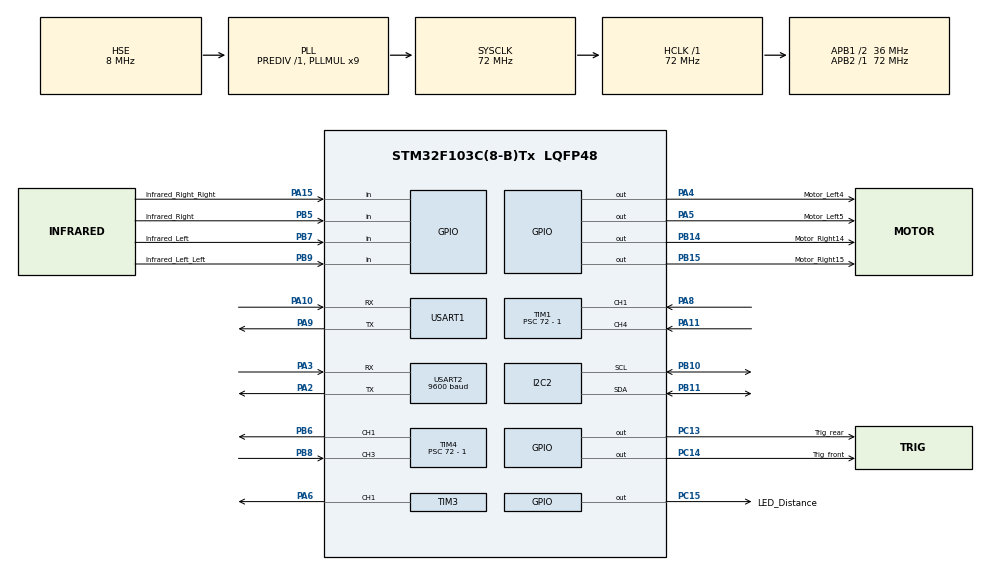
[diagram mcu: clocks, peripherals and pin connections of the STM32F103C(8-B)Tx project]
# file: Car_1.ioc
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Dma.Request0=USART2_RX
Dma.Request1=USART2_TX
Dma.Request2=USART1_RX
Dma.Request3=USART1_TX
Dma.USART1_RX.2.Direction=DMA_PERIPH_TO_MEMORY
Dma.USART1_RX.2.Instance=DMA1_Channel5
Dma.USART1_RX.2.MemDataAlignment=DMA_MDATAALIGN_BYTE
Dma.USART1_RX.2.MemInc=DMA_MINC_ENABLE
Dma.USART1_RX.2.Mode=DMA_NORMAL
Dma.USART1_RX.2.PeriphDataAlignment=DMA_PDATAALIGN_BYTE
Dma.USART1_RX.2.PeriphInc=DMA_PINC_DISABLE
Dma.USART1_RX.2.Priority=DMA_PRIORITY_LOW
Dma.USART1_TX.3.Direction=DMA_MEMORY_TO_PERIPH
Dma.USART1_TX.3.Instance=DMA1_Channel4
Dma.USART1_TX.3.MemDataAlignment=DMA_MDATAALIGN_BYTE
Dma.USART1_TX.3.MemInc=DMA_MINC_ENABLE
Dma.USART1_TX.3.Mode=DMA_NORMAL
Dma.USART1_TX.3.PeriphDataAlignment=DMA_PDATAALIGN_BYTE
Dma.USART1_TX.3.PeriphInc=DMA_PINC_DISABLE
Dma.USART1_TX.3.Priority=DMA_PRIORITY_LOW
Dma.USART2_RX.0.Direction=DMA_PERIPH_TO_MEMORY
Dma.USART2_RX.0.Instance=DMA1_Channel6
Dma.USART2_RX.0.MemDataAlignment=DMA_MDATAALIGN_BYTE
Dma.USART2_RX.0.MemInc=DMA_MINC_ENABLE
Dma.USART2_RX.0.Mode=DMA_NORMAL
Dma.USART2_RX.0.PeriphDataAlignment=DMA_PDATAALIGN_BYTE
Dma.USART2_RX.0.PeriphInc=DMA_PINC_DISABLE
Dma.USART2_RX.0.Priority=DMA_PRIORITY_LOW
Dma.USART2_TX.1.Direction=DMA_MEMORY_TO_PERIPH
Dma.USART2_TX.1.Instance=DMA1_Channel7
Dma.USART2_TX.1.MemDataAlignment=DMA_MDATAALIGN_BYTE
Dma.USART2_TX.1.MemInc=DMA_MINC_ENABLE
Dma.USART2_TX.1.Mode=DMA_NORMAL
Dma.USART2_TX.1.PeriphDataAlignment=DMA_PDATAALIGN_BYTE
Dma.USART2_TX.1.PeriphInc=DMA_PINC_DISABLE
Dma.USART2_TX.1.Priority=DMA_PRIORITY_LOW
Mcu.Family=STM32F1
Mcu.Name=STM32F103C(8-B)Tx
Mcu.Package=LQFP48
NVIC.DMA1_Channel4_IRQn=true\:0\:0\:false\:false\:true\:false\:true\:true
NVIC.DMA1_Channel5_IRQn=true\:0\:0\:false\:false\:true\:false\:true\:true
NVIC.DMA1_Channel6_IRQn=true\:0\:0\:false\:false\:true\:false\:true\:true
NVIC.DMA1_Channel7_IRQn=true\:0\:0\:false\:false\:true\:false\:true\:true
NVIC.I2C2_ER_IRQn=true\:0\:0\:false\:false\:true\:true\:true\:true
NVIC.I2C2_EV_IRQn=true\:0\:0\:false\:false\:true\:true\:true\:true
NVIC.PriorityGroup=NVIC_PRIORITYGROUP_4
NVIC.TIM1_CC_IRQn=true\:0\:0\:false\:false\:true\:true\:true\:true
NVIC.TIM3_IRQn=true\:0\:0\:false\:false\:true\:true\:true\:true
NVIC.TIM4_IRQn=true\:0\:0\:false\:false\:true\:true\:true\:true
NVIC.USART1_IRQn=true\:0\:0\:false\:false\:true\:true\:true\:true
NVIC.USART2_IRQn=true\:0\:0\:false\:false\:true\:true\:true\:true
PA10.Mode=Asynchronous
PA10.Signal=USART1_RX
PA11.Signal=S_TIM1_CH4
PA13.Mode=Serial_Wire
PA13.Signal=SYS_JTMS-SWDIO
PA14.Mode=Serial_Wire
PA14.Signal=SYS_JTCK-SWCLK
PA15.GPIO_Label=Infrared_Right_Right
PA15.Signal=GPIO_Input
PA2.Mode=Asynchronous
PA2.Signal=USART2_TX
PA3.Mode=Asynchronous
PA3.Signal=USART2_RX
PA4.GPIO_Label=Motor_Left4
PA4.Signal=GPIO_Output
PA5.GPIO_Label=Motor_Left5
PA5.Signal=GPIO_Output
PA6.Signal=S_TIM3_CH1
PA8.Signal=S_TIM1_CH1
PA9.Mode=Asynchronous
PA9.Signal=USART1_TX
PB10.Mode=I2C
PB10.Signal=I2C2_SCL
PB11.Mode=I2C
PB11.Signal=I2C2_SDA
PB14.GPIO_Label=Motor_Right14
PB14.Signal=GPIO_Output
PB15.GPIO_Label=Motor_Right15
PB15.Signal=GPIO_Output
PB5.GPIO_Label=Infrared_Right
PB5.Signal=GPIO_Input
PB6.Signal=S_TIM4_CH1
PB7.GPIO_Label=Infrared_Left
PB7.Signal=GPIO_Input
PB8.Signal=S_TIM4_CH3
PB9.GPIO_Label=Infrared_Left_Left
PB9.Signal=GPIO_Input
PC13-TAMPER-RTC.GPIO_Label=Trig_rear
PC13-TAMPER-RTC.Signal=GPIO_Output
PC14-OSC32_IN.GPIO_Label=Trig_front
PC14-OSC32_IN.Signal=GPIO_Output
PC15-OSC32_OUT.GPIO_Label=LED_Distance
PC15-OSC32_OUT.Signal=GPIO_Output
PD0-OSC_IN.Mode=HSE-External-Oscillator
PD0-OSC_IN.Signal=RCC_OSC_IN
PD1-OSC_OUT.Mode=HSE-External-Oscillator
PD1-OSC_OUT.Signal=RCC_OSC_OUT
ProjectManager.HeapSize=0x200
ProjectManager.StackSize=0x400
ProjectManager.TargetToolchain=STM32CubeIDE
RCC.AHBFreq_Value=72000000
RCC.APB1CLKDivider=RCC_HCLK_DIV2
RCC.APB1Freq_Value=36000000
RCC.APB1TimFreq_Value=72000000
RCC.APB2Freq_Value=72000000
RCC.APB2TimFreq_Value=72000000
RCC.HCLKFreq_Value=72000000
RCC.PLLMUL=RCC_PLL_MUL9
RCC.PLLSourceVirtual=RCC_PLLSOURCE_HSE
RCC.SYSCLKFreq_VALUE=72000000
RCC.SYSCLKSource=RCC_SYSCLKSOURCE_PLLCLK
RCC.USBFreq_Value=72000000
SH.S_TIM1_CH1.0=TIM1_CH1,Input_Capture1_from_TI1
SH.S_TIM1_CH4.0=TIM1_CH4,Input_Capture4_from_TI4
SH.S_TIM3_CH1.0=TIM3_CH1,PWM Generation1 CH1
SH.S_TIM4_CH1.0=TIM4_CH1,PWM Generation1 CH1
SH.S_TIM4_CH3.0=TIM4_CH3,Input_Capture3_from_TI3
TIM1.Channel-Input_Capture1_from_TI1=TIM_CHANNEL_1
TIM1.Channel-Input_Capture2_from_TI1_63=TIM_CHANNEL_2
TIM1.Channel-Input_Capture3_from_TI4_63=TIM_CHANNEL_3
TIM1.Channel-Input_Capture4_from_TI4=TIM_CHANNEL_4
TIM1.ICPolarity_CH2=TIM_INPUTCHANNELPOLARITY_FALLING
TIM1.ICPolarity_CH3=TIM_INPUTCHANNELPOLARITY_FALLING
TIM1.Prescaler=72 - 1
TIM3.Channel-PWM\ Generation1\ CH1=TIM_CHANNEL_1
TIM3.Period=200 - 1
TIM3.Prescaler=7200 - 1
TIM4.Channel-Input_Capture3_from_TI3=TIM_CHANNEL_3
TIM4.Channel-Input_Capture4_from_TI3_63=TIM_CHANNEL_4
TIM4.Channel-PWM\ Generation1\ CH1=TIM_CHANNEL_1
TIM4.ICPolarity_CH4=TIM_INPUTCHANNELPOLARITY_FALLING
TIM4.Period=100 - 1
TIM4.Prescaler=72 - 1
USART1.VirtualMode=VM_ASYNC
USART2.BaudRate=9600
USART2.VirtualMode=VM_ASYNC
VP_TIM1_VS_ClockSourceINT.Mode=Internal
VP_TIM1_VS_indirect_ch1.Mode=Input_Capture2_from_TI1_63
VP_TIM1_VS_indirect_ch4.Mode=Input_Capture3_from_TI4_63
VP_TIM3_VS_ClockSourceINT.Mode=Internal
VP_TIM4_VS_ClockSourceINT.Mode=Internal
VP_TIM4_VS_indirect_ch3.Mode=Input_Capture4_from_TI3_63
board=custom

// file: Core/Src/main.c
/* USER CODE BEGIN Header */
/**
  ******************************************************************************
  * @file           : main.c
  * @brief          : Main program body
  ******************************************************************************
  * @attention
  *
  * Copyright (c) 2024 STMicroelectronics.
  * All rights reserved.
  *
  * This software is licensed under terms that can be found in the LICENSE file
  * in the root directory of this software component.
  * If no LICENSE file comes with this software, it is provided AS-IS.
  *
  ******************************************************************************
  */
/* USER CODE END Header */
#include "main.h"
#include "dma.h"
#include "i2c.h"
#include "tim.h"
#include "usart.h"
#include "gpio.h"

/* USER CODE BEGIN Includes */
#include <stdio.h>
#include "oled.h"
#include "motor.h"
#include "Servo.h"
#include "obstacle_avoidance.h"
#include "distance.h"
#include "infrared.h"
#include "aht20.h"
#include "font.h"
#include "control_protocol.h"
/* USER CODE END Includes */

/* USER CODE BEGIN PV */
volatile uint8_t receive[2] = {0, 0};
volatile uint32_t command_tick_ms = 0;
static uint8_t uart_byte;
static uint8_t uart_echo[2];
static ControlRx uart_rx;
uint8_t get;
int StartTimeUpEdge_Rear = 0;
int EndTimeDownEdge_Rear = 0;
int StartTimeUpEdge_Front = 0;
int EndTimeDownEdge_Front = 0;
float distance_rear = 0;
float distance_front = 0;
/* USER CODE END PV */

void SystemClock_Config(void);

/* USER CODE BEGIN 0 */
static void SnapshotLatestCommand(uint8_t *action, uint8_t *value, uint32_t *tick_ms)
{
  uint32_t primask = __get_PRIMASK();

  __disable_irq();
  *action = receive[0];
  *value = receive[1];
  *tick_ms = command_tick_ms;
  __set_PRIMASK(primask);
}

void HAL_UART_RxCpltCallback(UART_HandleTypeDef *huart)
{
  uint8_t action;
  uint8_t value;

  if (huart != &huart2) {
    return;
  }

  if (ControlRx_Feed(&uart_rx, uart_byte, &action, &value)) {
    receive[0] = action;
    receive[1] = value;
    command_tick_ms = HAL_GetTick();
    uart_echo[0] = action;
    uart_echo[1] = value;
    HAL_UART_Transmit_IT(&huart2, uart_echo, sizeof(uart_echo));
  }
  HAL_UART_Receive_IT(&huart2, &uart_byte, 1);
}

/* USER CODE END 0 */

int main(void)
{

  /* MCU Configuration--------------------------------------------------------*/

  /* Reset of all peripherals, Initializes the Flash interface and the Systick. */
  HAL_Init();

  /* Configure the system clock */
  SystemClock_Config();

  /* Initialize all configured peripherals */
  MX_GPIO_Init();
  MX_DMA_Init();
  MX_TIM4_Init();
  MX_TIM3_Init();
  MX_USART2_UART_Init();
  MX_USART1_UART_Init();
  MX_I2C2_Init();
  MX_TIM1_Init();
  /* USER CODE BEGIN 2 */
  //GPIO口初始化
  HAL_GPIO_WritePin(Motor_Left4_GPIO_Port, Motor_Left4_Pin, GPIO_PIN_SET);
  HAL_GPIO_WritePin(Motor_Left5_GPIO_Port, Motor_Left5_Pin, GPIO_PIN_RESET);
  HAL_GPIO_WritePin(Motor_Right15_GPIO_Port, Motor_Right15_Pin, GPIO_PIN_SET);
  HAL_GPIO_WritePin(Motor_Right14_GPIO_Port, Motor_Right14_Pin, GPIO_PIN_RESET);
  //TIM4控制直流电机 1KHZ
  HAL_TIM_PWM_Start(&htim4, TIM_CHANNEL_1);
  //TIM3控制舵机 50HZ
  HAL_TIM_PWM_Start(&htim3, TIM_CHANNEL_1);
  __HAL_TIM_SetCompare(&htim3, TIM_CHANNEL_1, 14);
  // USART2: one byte at a time so ASCII "1,3" and two-byte binary both work
  ControlRx_Init(&uart_rx);
  HAL_UART_Receive_IT(&huart2, &uart_byte, 1);
  //设置轮子初始速度
  __HAL_TIM_SetCompare(&htim4, TIM_CHANNEL_1, 0);
  //OLED初始化
  HAL_Delay(20);
  OLED_Init();
  //启动TIM1定时器计数
  HAL_TIM_Base_Start(&htim1);
  //启动定时器输入捕获IC，测量结束时TIM_CHANNEL_2引发中断
  HAL_TIM_IC_Start(&htim1, TIM_CHANNEL_1);
  HAL_TIM_IC_Start_IT(&htim1, TIM_CHANNEL_2);
  HAL_TIM_IC_Start(&htim1, TIM_CHANNEL_4);
  HAL_TIM_IC_Start_IT(&htim1, TIM_CHANNEL_3);
  /* USER CODE END 2 */

  /* Infinite loop */
  /* USER CODE BEGIN WHILE */
  while (1)
  {
	  uint8_t action;
	  uint8_t value;
	  uint32_t cmd_tick;

	  //前后测量
	  Fore_Rea_Ranging();
	  {
		  static uint32_t last_telem;
		  uint32_t now = HAL_GetTick();

		  /* USART1 debug TX: termscope-style labelled lines, ~5 Hz. */
		  if ((now - last_telem) >= 200u) {
			  char line[48];
			  int n = snprintf(
				  line, sizeof line, "front:%.1f rear:%.1f hold:%.0f\r\n",
				  (double)distance_front,
				  (double)distance_rear,
				  ControlCommand_HoldForward(1u, distance_front) ? 1.0 : 0.0
			  );
			  if (n > 0 && n < (int)sizeof line) {
				  (void)HAL_UART_Transmit(&huart1, (uint8_t *)line, (uint16_t)n, 20);
			  }
			  last_telem = now;
		  }
	  }
    /* USER CODE END WHILE */

    /* USER CODE BEGIN 3 */
	  //蓝牙接收数据，配置四个轮子
	  SnapshotLatestCommand(&action, &value, &cmd_tick);
	  if (!ControlCommand_IsValid(action, value)) {
		  ServoSetAngle(2);
		  Stop();
		  continue;
	  }
	  if (ControlCommand_DriveExpired(
			  action, HAL_GetTick(), cmd_tick, CONTROL_DRIVE_TIMEOUT_MS)) {
		  /* Bluetooth dropped or the phone stopped repeating fwd/back/left/right. */
		  Stop();
		  continue;
	  }
	  if (ControlCommand_HoldForward(action, distance_front)) {
		  /* Wall in front: keep left/right/back, but do not drive into it. */
		  Stop();
		  continue;
	  }

	  if(action == 0){
		  ServoSetAngle(2);
		  Stop();
	  }
	  else if(action == 1){
		  //表明收到指令向前走
		  GoHead(value);
	  }else if(action == 2){
		  //表明收到指令向后走
		  GoBack(value);
	  }else if(action == 3){
		  //表明收到指令向左转
		  TurnLeft(value);
	  }else if(action == 4){
		  //表明收到指令向右转
		  TurnRight(value);
	  }else if(action == 5){
		  //表明收到舵机控制指令
		  ServoSetAngle(value);
	  }else if(action == 6){
		  //表明收到自动避障指令
		  if(value == 0){
			  Stop();
		  }else if(value == 1){
			  Auto_Obstacle_Avoidance_Slow();
		  }
	  }else if(action == 7){
		  Track();
	  }

  }
  /* USER CODE END 3 */
}

void SystemClock_Config(void)
{
  RCC_OscInitTypeDef RCC_OscInitStruct = {0};
  RCC_ClkInitTypeDef RCC_ClkInitStruct = {0};

  /** Initializes the RCC Oscillators according to the specified parameters
  * in the RCC_OscInitTypeDef structure.
  */
  RCC_OscInitStruct.OscillatorType = RCC_OSCILLATORTYPE_HSE;
  RCC_OscInitStruct.HSEState = RCC_HSE_ON;
  RCC_OscInitStruct.HSEPredivValue = RCC_HSE_PREDIV_DIV1;
  RCC_OscInitStruct.HSIState = RCC_HSI_ON;
  RCC_OscInitStruct.PLL.PLLState = RCC_PLL_ON;
  RCC_OscInitStruct.PLL.PLLSource = RCC_PLLSOURCE_HSE;
  RCC_OscInitStruct.PLL.PLLMUL = RCC_PLL_MUL9;
  if (HAL_RCC_OscConfig(&RCC_OscInitStruct) != HAL_OK)
  {
    Error_Handler();
  }

  /** Initializes the CPU, AHB and APB buses clocks
  */
  RCC_ClkInitStruct.ClockType = RCC_CLOCKTYPE_HCLK|RCC_CLOCKTYPE_SYSCLK
                              |RCC_CLOCKTYPE_PCLK1|RCC_CLOCKTYPE_PCLK2;
  RCC_ClkInitStruct.SYSCLKSource = RCC_SYSCLKSOURCE_PLLCLK;
  RCC_ClkInitStruct.AHBCLKDivider = RCC_SYSCLK_DIV1;
  RCC_ClkInitStruct.APB1CLKDivider = RCC_HCLK_DIV2;
  RCC_ClkInitStruct.APB2CLKDivider = RCC_HCLK_DIV1;

  if (HAL_RCC_ClockConfig(&RCC_ClkInitStruct, FLASH_LATENCY_2) != HAL_OK)
  {
    Error_Handler();
  }
}

void Error_Handler(void)
{
  __disable_irq();
  while (1)
  {
  }
}
